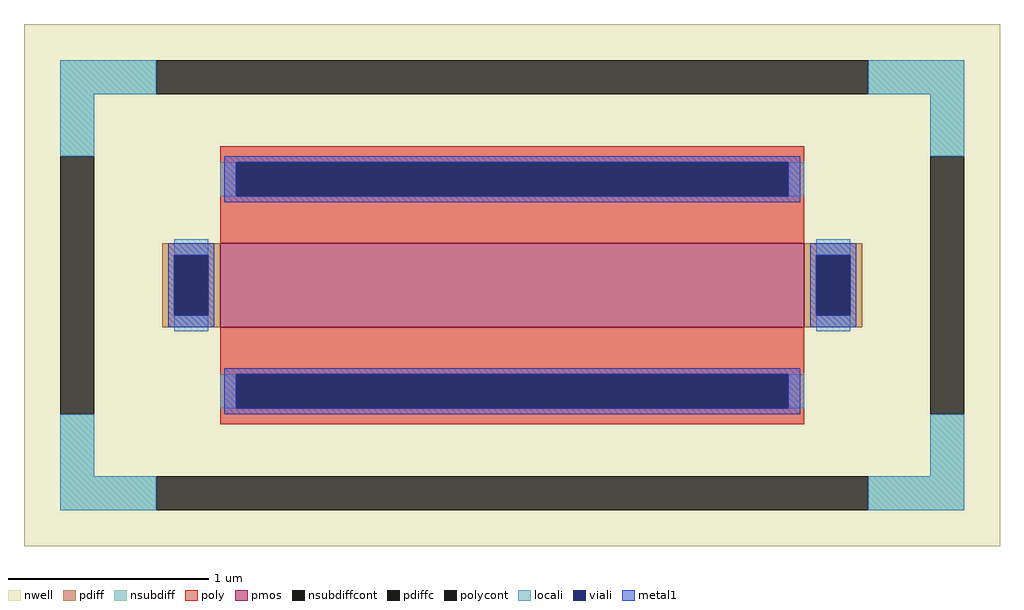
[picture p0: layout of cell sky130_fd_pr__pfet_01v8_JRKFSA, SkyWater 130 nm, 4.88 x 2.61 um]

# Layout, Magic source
magic
tech sky130A
magscale 1 2
<< nwell >>
rect -488 -261 488 261
<< pmos >>
rect -292 -42 292 42
<< pdiff >>
rect -350 30 -292 42
rect -350 -30 -338 30
rect -304 -30 -292 30
rect -350 -42 -292 -30
rect 292 30 350 42
rect 292 -30 304 30
rect 338 -30 350 30
rect 292 -42 350 -30
<< pdiffc >>
rect -338 -30 -304 30
rect 304 -30 338 30
<< nsubdiff >>
rect -452 191 -356 225
rect 356 191 452 225
rect -452 129 -418 191
rect 418 129 452 191
rect -452 -191 -418 -129
rect 418 -191 452 -129
rect -452 -225 -356 -191
rect 356 -225 452 -191
<< nsubdiffcont >>
rect -356 191 356 225
rect -452 -129 -418 129
rect 418 -129 452 129
rect -356 -225 356 -191
<< poly >>
rect -292 123 292 139
rect -292 89 -276 123
rect 276 89 292 123
rect -292 42 292 89
rect -292 -89 292 -42
rect -292 -123 -276 -89
rect 276 -123 292 -89
rect -292 -139 292 -123
<< polycont >>
rect -276 89 276 123
rect -276 -123 276 -89
<< locali >>
rect -452 191 -356 225
rect 356 191 452 225
rect -452 129 -418 191
rect 418 129 452 191
rect -292 89 -276 123
rect 276 89 292 123
rect -338 30 -304 46
rect -338 -46 -304 -30
rect 304 30 338 46
rect 304 -46 338 -30
rect -292 -123 -276 -89
rect 276 -123 292 -89
rect -452 -191 -418 -129
rect 418 -191 452 -129
rect -452 -225 -356 -191
rect 356 -225 452 -191
<< viali >>
rect -276 89 276 123
rect -338 -30 -304 30
rect 304 -30 338 30
rect -276 -123 276 -89
<< metal1 >>
rect -288 123 288 129
rect -288 89 -276 123
rect 276 89 288 123
rect -288 83 288 89
rect -344 30 -298 42
rect -344 -30 -338 30
rect -304 -30 -298 30
rect -344 -42 -298 -30
rect 298 30 344 42
rect 298 -30 304 30
rect 338 -30 344 30
rect 298 -42 344 -30
rect -288 -89 288 -83
rect -288 -123 -276 -89
rect 276 -123 288 -89
rect -288 -129 288 -123
<< properties >>
string FIXED_BBOX -435 -208 435 208
string gencell sky130_fd_pr__pfet_01v8
string library sky130
string parameters w 0.42 l 2.92 m 1 nf 1 diffcov 100 polycov 100 guard 1 glc 1 grc 1 gtc 1 gbc 1 tbcov 100 rlcov 100 topc 1 botc 1 poverlap 0 doverlap 1 lmin 0.15 wmin 0.42 compatible {sky130_fd_pr__pfet_01v8  sky130_fd_pr__pfet_01v8_lvt sky130_fd_pr__pfet_01v8_hvt  sky130_fd_pr__pfet_g5v0d10v5} full_metal 1 viasrc 100 viadrn 100 viagate 100 viagb 0 viagr 0 viagl 0 viagt 0
<< end >>
